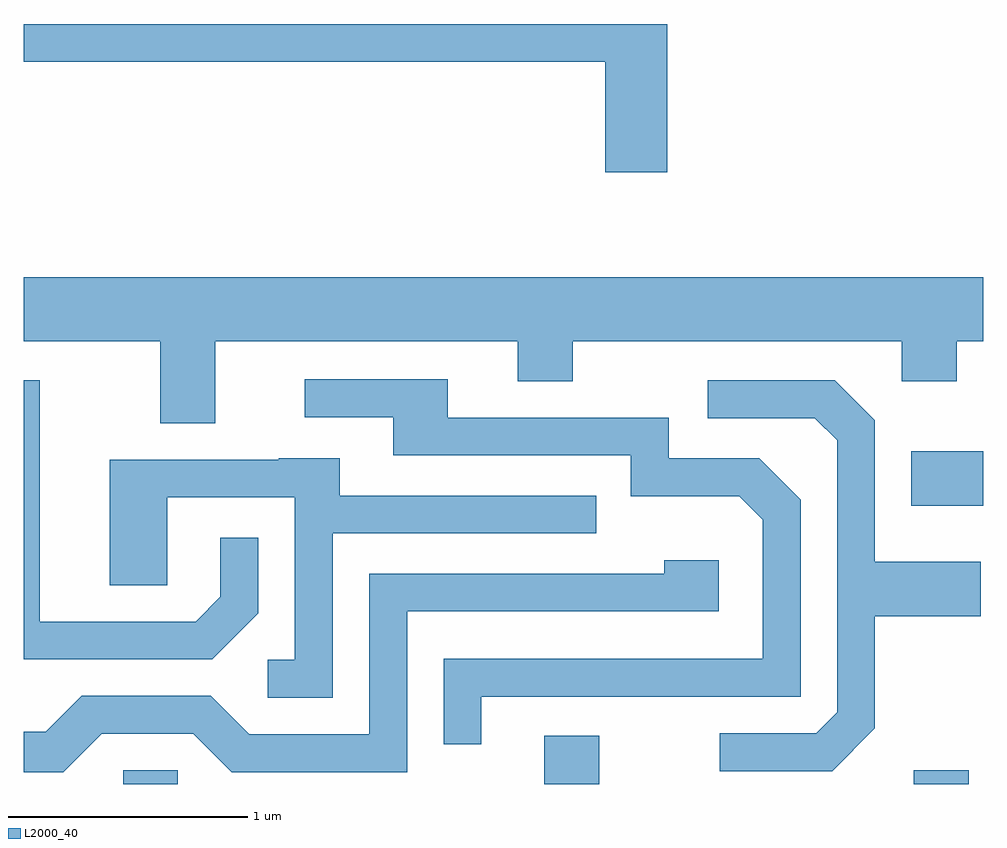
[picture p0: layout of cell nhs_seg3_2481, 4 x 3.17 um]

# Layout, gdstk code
import gdstk
lib = gdstk.Library(unit=1e-6, precision=1e-09)
def R(c, l, rs):  # rectangles x0, y0, x1, y1
    for r in rs: c.add(gdstk.rectangle(r[:2], r[2:], *l))
def P(c, l, *ps):  # polygons
    for p in ps: c.add(gdstk.Polygon(p, *l))
L2000_40 = (2000, 40)

nhs_seg3_2481 = lib.new_cell('nhs_seg3_2481')
R(nhs_seg3_2481, L2000_40, [(258.026,1181.892,258.254,1181.949), (259.781,1181.892,260.009,1182.094), (261.321,1181.892,261.549,1181.949), (261.311,1183.051,261.611,1183.279)])
P(nhs_seg3_2481, L2000_40, [(260.294,1185.059),(257.611,1185.059),(257.611,1184.901),(260.036,1184.901),(260.036,1184.441),(260.294,1184.441)],
  [(258.409,1183.736),(259.671,1183.736),(259.671,1183.571),(259.899,1183.571),(259.899,1183.736),(261.271,1183.736),(261.271,1183.571),(261.499,1183.571),(261.499,1183.736),(261.611,1183.736),(261.611,1184.004),(257.611,1184.004),(257.611,1183.736),(258.181,1183.736),(258.181,1183.396),(258.409,1183.396)],
  [(259.519,1182.256),(260.849,1182.256),(260.849,1183.077),(260.677,1183.249),(260.299,1183.249),(260.299,1183.419),(259.379,1183.419),(259.379,1183.579),(258.783,1183.579),(258.783,1183.421),(259.151,1183.421),(259.151,1183.261),(260.141,1183.261),(260.141,1183.091),(260.594,1183.091),(260.691,1182.994),(260.691,1182.414),(259.361,1182.414),(259.361,1182.058),(259.519,1182.058)],
  [(261.159,1182.124),(261.159,1182.591),(261.599,1182.591),(261.599,1182.819),(261.159,1182.819),(261.159,1183.407),(260.992,1183.574),(260.462,1183.574),(260.462,1183.416),(260.909,1183.416),(261.001,1183.324),(261.001,1182.192),(260.914,1182.104),(260.513,1182.104),(260.513,1181.946),(260.981,1181.946)],
  [(258.589,1182.604),(258.589,1182.918),(258.431,1182.918),(258.431,1182.672),(258.329,1182.569),(257.679,1182.569),(257.679,1183.574),(257.611,1183.574),(257.611,1182.411),(258.397,1182.411)],
  [(258.899,1182.936),(259.998,1182.936),(259.998,1183.094),(258.929,1183.094),(258.929,1183.249),(258.675,1183.249),(258.675,1183.244),(257.971,1183.244),(257.971,1182.721),(258.209,1182.721),(258.209,1183.086),(258.741,1183.086),(258.741,1182.409),(258.628,1182.409),(258.628,1182.251),(258.899,1182.251)],
  [(257.937,1182.101),(258.319,1182.101),(258.479,1181.941),(259.209,1181.941),(259.209,1182.611),(260.509,1182.611),(260.509,1182.824),(260.281,1182.824),(260.281,1182.769),(259.051,1182.769),(259.051,1182.099),(258.552,1182.099),(258.392,1182.259),(257.854,1182.259),(257.704,1182.109),(257.611,1182.109),(257.611,1181.941),(257.777,1181.941)])

lib.write_gds('nhs_seg3_2481.gds')
